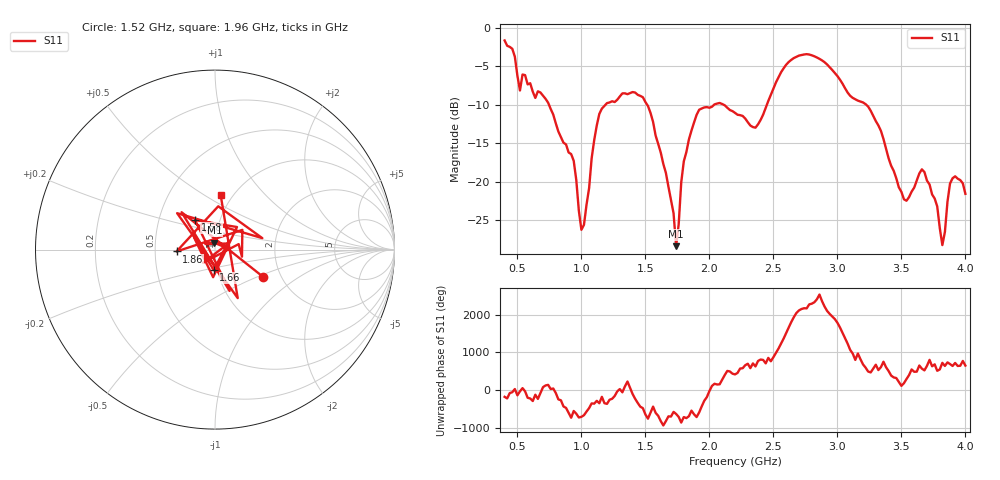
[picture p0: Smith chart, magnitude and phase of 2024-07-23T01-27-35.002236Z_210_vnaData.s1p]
!Created with skrf (http://scikit-rf.org).
# Hz S RI R 50.0
!freq ReS11 ImS11
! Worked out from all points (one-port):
!   181 points, 400 MHz to 4 GHz, reference 50 ohm
!   lowest |S11| = -28.4 dB at 1.74 GHz (marker M1), VSWR 1.08, Z = 49.5 + j3.75 ohm
!   |S11| at or under -10 dB: 746.2 MHz to 1.189 GHz (442.9 MHz wide, 45.8 % of centre); 1.513 GHz to 2.038 GHz (525 MHz wide, 29.6 % of centre); 3.224 GHz to end of sweep (the widest 3 of 4)
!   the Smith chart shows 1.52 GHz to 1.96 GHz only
!   S11 on the Smith chart (normalised r, x): 1.52 GHz: 1.62, -0.55; 1.58 GHz: 0.76, +0.26; 1.66 GHz: 0.96, -0.22; 1.86 GHz: 0.65, -0.01; 1.96 GHz: 0.88, +0.59
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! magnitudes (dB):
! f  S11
! 400 MHz  -1.7
! 480 MHz  -3.8
! 520 MHz  -8.2
! 680 MHz  -8.4
! 860 MHz  -15.0
! 940 MHz  -17.3
! 1 GHz  -26.3
! 1.14 GHz  -11.2
! 1.3 GHz  -8.9
! 1.52 GHz  -10.2
! 1.58 GHz  -14.0
! 1.66 GHz  -18.9
! 1.74 GHz  -28.4
! 1.76 GHz  -25.6
! 1.8 GHz  -17.4
! 1.86 GHz  -13.4
! 1.96 GHz  -10.4
! 2.2 GHz  -11.1
! 2.36 GHz  -13.0
! 2.66 GHz  -3.9
! 3.1 GHz  -8.9
! 3.26 GHz  -10.8
! 3.56 GHz  -22.0
! 3.68 GHz  -18.8
! 3.78 GHz  -23.2
! 3.82 GHz  -28.3
! 3.88 GHz  -20.3
! 4 GHz  -21.6
